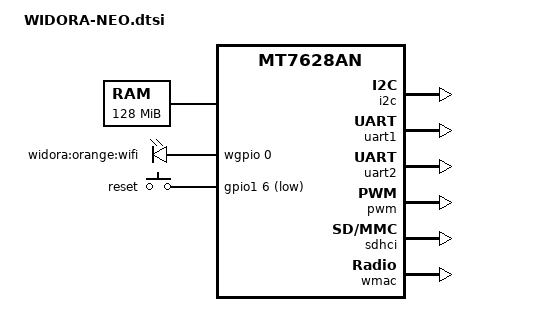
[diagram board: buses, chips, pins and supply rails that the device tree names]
#include "mt7628an.dtsi"

#include <dt-bindings/gpio/gpio.h>
#include <dt-bindings/input/input.h>

/ {
	compatible = "widora,neo", "mediatek,mt7628an-soc";

	chosen {
		bootargs = "console=ttyS0,115200";
	};

	memory@0 {
		device_type = "memory";
		reg = <0x0 0x8000000>;
	};

	gpio-leds {
		compatible = "gpio-leds";

		wifi {
			label = "widora:orange:wifi";
			gpios = <&wgpio 0 GPIO_ACTIVE_HIGH>;
			default-state = "on";
		};
	};

	gpio-keys-polled {
		compatible = "gpio-keys-polled";
		#address-cells = <1>;
		#size-cells = <0>;
		poll-interval = <20>;

		wps {
			label = "reset";
			gpios = <&gpio1 6 GPIO_ACTIVE_LOW>;
			linux,code = <KEY_WPS_BUTTON>;
		};
	};

	wgpio: gpio-wifi {
		compatible = "mediatek,gpio-wifi";
		#address-cells = <1>;
		#size-cells = <0>;
		gpio-controller;
		#gpio-cells = <2>;
	};
};

&pinctrl {
	state_default: pinctrl0 {
		gpio {
			groups = "gpio";
			function = "gpio";
		};

		perst {
			groups = "perst";
			function = "gpio";
		};

		refclk {
			groups = "refclk";
			function = "gpio";
		};

		i2s {
			groups = "i2s";
			function = "gpio";
		};

		spis {
			groups = "spis";
			function = "gpio";
		};

		wled_kn {
			groups = "wled_kn";
			function = "gpio";
		};

		wled_an {
			groups = "wled_an";
			function = "wled_an";
		};

		wdt {
			groups = "wdt";
			function = "gpio";
		};
	};
};

&i2c {
	status = "okay";
};

&uart1 {
	status = "okay";
};

&uart2 {
	status = "okay";
};

&pwm {
	status = "okay";
};

&ethernet {
	mtd-mac-address = <&factory 0x28>;
};

&sdhci {
	status = "okay";
	mediatek,cd-low;
};

&wmac {
	status = "okay";
};
